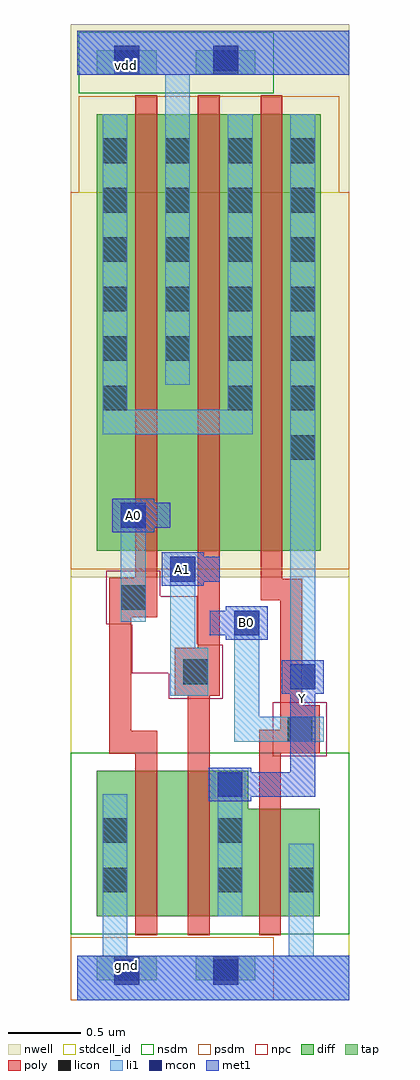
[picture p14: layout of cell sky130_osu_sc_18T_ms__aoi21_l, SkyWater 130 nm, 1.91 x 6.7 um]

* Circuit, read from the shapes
.subckt sky130_osu_sc_18T_ms__aoi21_l A0 A1 B0 Y gnd vdd
XM1 n1 A0 gnd gnd sky130_fd_pr__nfet_01v8 w=1 l=0.15
XM2 Y A1 n1 gnd sky130_fd_pr__nfet_01v8 w=1 l=0.15
XM3 gnd B0 Y gnd sky130_fd_pr__nfet_01v8 w=0.74 l=0.15
XM4 vdd A0 n2 vdd sky130_fd_pr__pfet_01v8 w=3 l=0.15
XM5 n2 A1 vdd vdd sky130_fd_pr__pfet_01v8 w=3 l=0.15
XM6 Y B0 n2 vdd sky130_fd_pr__pfet_01v8 w=3 l=0.15
.ends

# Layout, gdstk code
import gdstk
lib = gdstk.Library(unit=1e-6, precision=1e-09)
def R(c, l, rs):  # rectangles x0, y0, x1, y1
    for r in rs: c.add(gdstk.rectangle(r[:2], r[2:], *l))
def A(c, l, x, y, w, h, nx, ny, dx, dy):  # array of equal rectangles
    R(c, l, [(x+i*dx, y+j*dy, x+i*dx+w, y+j*dy+h) for i in range(nx) for j in range(ny)])
nwell = (64, 20)
diff = (65, 20)
tap = (65, 44)
poly = (66, 20)
licon = (66, 44)
li1 = (67, 20)
mcon = (67, 44)
met1 = (68, 20)
stdcell_id = (81, 4)
nsdm = (93, 44)
psdm = (94, 20)
npc = (95, 20)

sky130_osu_sc_18t_ms__ao = lib.new_cell('sky130_osu_sc_18T_ms__aoi21_l')
R(sky130_osu_sc_18t_ms__ao, nwell, [(-0.045,2.905,1.87,6.705)])
R(sky130_osu_sc_18t_ms__ao, diff, [(0.135,0.575,1.665,1.315), (0.135,1.315,1.175,1.575), (0.135,3.085,1.675,6.085)])
R(sky130_osu_sc_18t_ms__ao, tap, [(0.135,0.135,0.545,0.305), (0.815,0.135,1.225,0.305), (0.135,6.355,0.545,6.525), (0.815,6.355,1.225,6.525)])
R(sky130_osu_sc_18t_ms__ao, poly, [(0.4,0.445,0.55,1.69), (0.76,0.445,0.91,2.09), (1.25,0.445,1.4,1.695), (0.22,1.69,0.55,1.85), (1.25,1.695,1.665,1.855), (0.22,1.85,0.37,2.63), (1.395,1.855,1.665,2.025), (1.395,2.025,1.545,2.745), (0.67,2.09,0.98,2.42), (0.83,2.42,0.98,6.215), (0.22,2.63,0.55,2.9), (1.26,2.745,1.545,2.895), (1.26,2.895,1.41,6.215), (0.4,2.9,0.55,6.215)])
A(sky130_osu_sc_18t_ms__ao, licon, 0.175, 4.39, 0.17, 0.17, 4, 5, 0.43, 0.34)
R(sky130_osu_sc_18t_ms__ao, licon, [(0.255,0.135,0.425,0.305), (0.935,0.135,1.105,0.305), (0.175,0.74,0.345,0.91), (0.965,0.74,1.135,0.91), (1.455,0.74,1.625,0.91), (0.175,1.08,0.345,1.25), (0.965,1.08,1.135,1.25), (1.445,1.775,1.615,1.945), (0.73,2.17,0.9,2.34), (0.3,2.68,0.47,2.85), (1.465,3.71,1.635,3.88), (0.175,4.05,0.345,4.22), (1.035,4.05,1.205,4.22), (1.465,4.05,1.635,4.22), (0.255,6.355,0.425,6.525), (0.935,6.355,1.105,6.525)])
R(sky130_osu_sc_18t_ms__ao, li1, [(0,0,1.87,0.305), (0.175,0.305,0.345,1.415), (1.455,0.305,1.625,1.075), (0.965,0.575,1.135,1.565), (1.08,1.775,1.695,1.945), (1.08,1.945,1.25,2.675), (0.64,2.09,0.9,2.42), (1.465,2.135,1.635,6.085), (0.64,2.42,0.81,3.045), (0.3,2.6,0.47,3.415), (0.175,3.885,1.205,4.055), (0.175,4.055,0.345,6.085), (1.035,4.055,1.205,6.085), (0.605,4.225,0.775,6.355), (0,6.355,1.87,6.66)])
R(sky130_osu_sc_18t_ms__ao, mcon, [(0.255,0.105,0.425,0.275), (0.935,0.105,1.105,0.275), (0.965,1.395,1.135,1.565), (1.465,2.135,1.635,2.305), (1.08,2.505,1.25,2.675), (0.64,2.875,0.81,3.045), (0.3,3.245,0.47,3.415), (0.255,6.385,0.425,6.555), (0.935,6.385,1.105,6.555)])
R(sky130_osu_sc_18t_ms__ao, met1, [(0,0,1.87,0.305), (0.905,1.365,1.195,1.395), (0.905,1.395,1.635,1.565), (0.905,1.565,1.195,1.595), (1.465,1.565,1.635,2.105), (1.405,2.105,1.695,2.335), (1.02,2.475,1.31,2.505), (0.91,2.505,1.31,2.675), (1.02,2.675,1.31,2.705), (0.58,2.845,0.87,2.875), (0.58,2.875,0.98,3.045), (0.58,3.045,0.87,3.075), (0.24,3.215,0.53,3.245), (0.24,3.245,0.64,3.415), (0.24,3.415,0.53,3.445), (0,6.355,1.87,6.66)])
R(sky130_osu_sc_18t_ms__ao, stdcell_id, [(-0.045,0,1.87,5.55)])
R(sky130_osu_sc_18t_ms__ao, nsdm, [(-0.045,0.45,1.87,1.7), (0.01,6.23,1.35,6.65)])
R(sky130_osu_sc_18t_ms__ao, psdm, [(-0.045,0,1.35,0.43), (-0.045,2.96,1.87,5.55), (0.01,5.55,1.8,6.21)])
R(sky130_osu_sc_18t_ms__ao, npc, [(1.345,1.675,1.715,2.045), (0.63,2.07,1,2.245), (0.375,2.245,1,2.44), (0.375,2.44,0.825,2.58), (0.2,2.58,0.825,2.775), (0.2,2.775,0.57,2.95)])
sky130_osu_sc_18t_ms__ao.add(gdstk.Label('gnd', (0.34,0.24), layer=68, texttype=16))
sky130_osu_sc_18t_ms__ao.add(gdstk.Label('vdd', (0.34,6.42), layer=68, texttype=16))
sky130_osu_sc_18t_ms__ao.add(gdstk.Label('A0', (0.385,3.33), layer=68, texttype=5))
sky130_osu_sc_18t_ms__ao.add(gdstk.Label('B0', (1.165,2.59), layer=68, texttype=5))
sky130_osu_sc_18t_ms__ao.add(gdstk.Label('Y', (1.55,2.07), layer=68, texttype=5))
sky130_osu_sc_18t_ms__ao.add(gdstk.Label('A1', (0.725,2.96), layer=68, texttype=5))

lib.write_gds('sky130_osu_sc_18T_ms__aoi21_l.gds')
